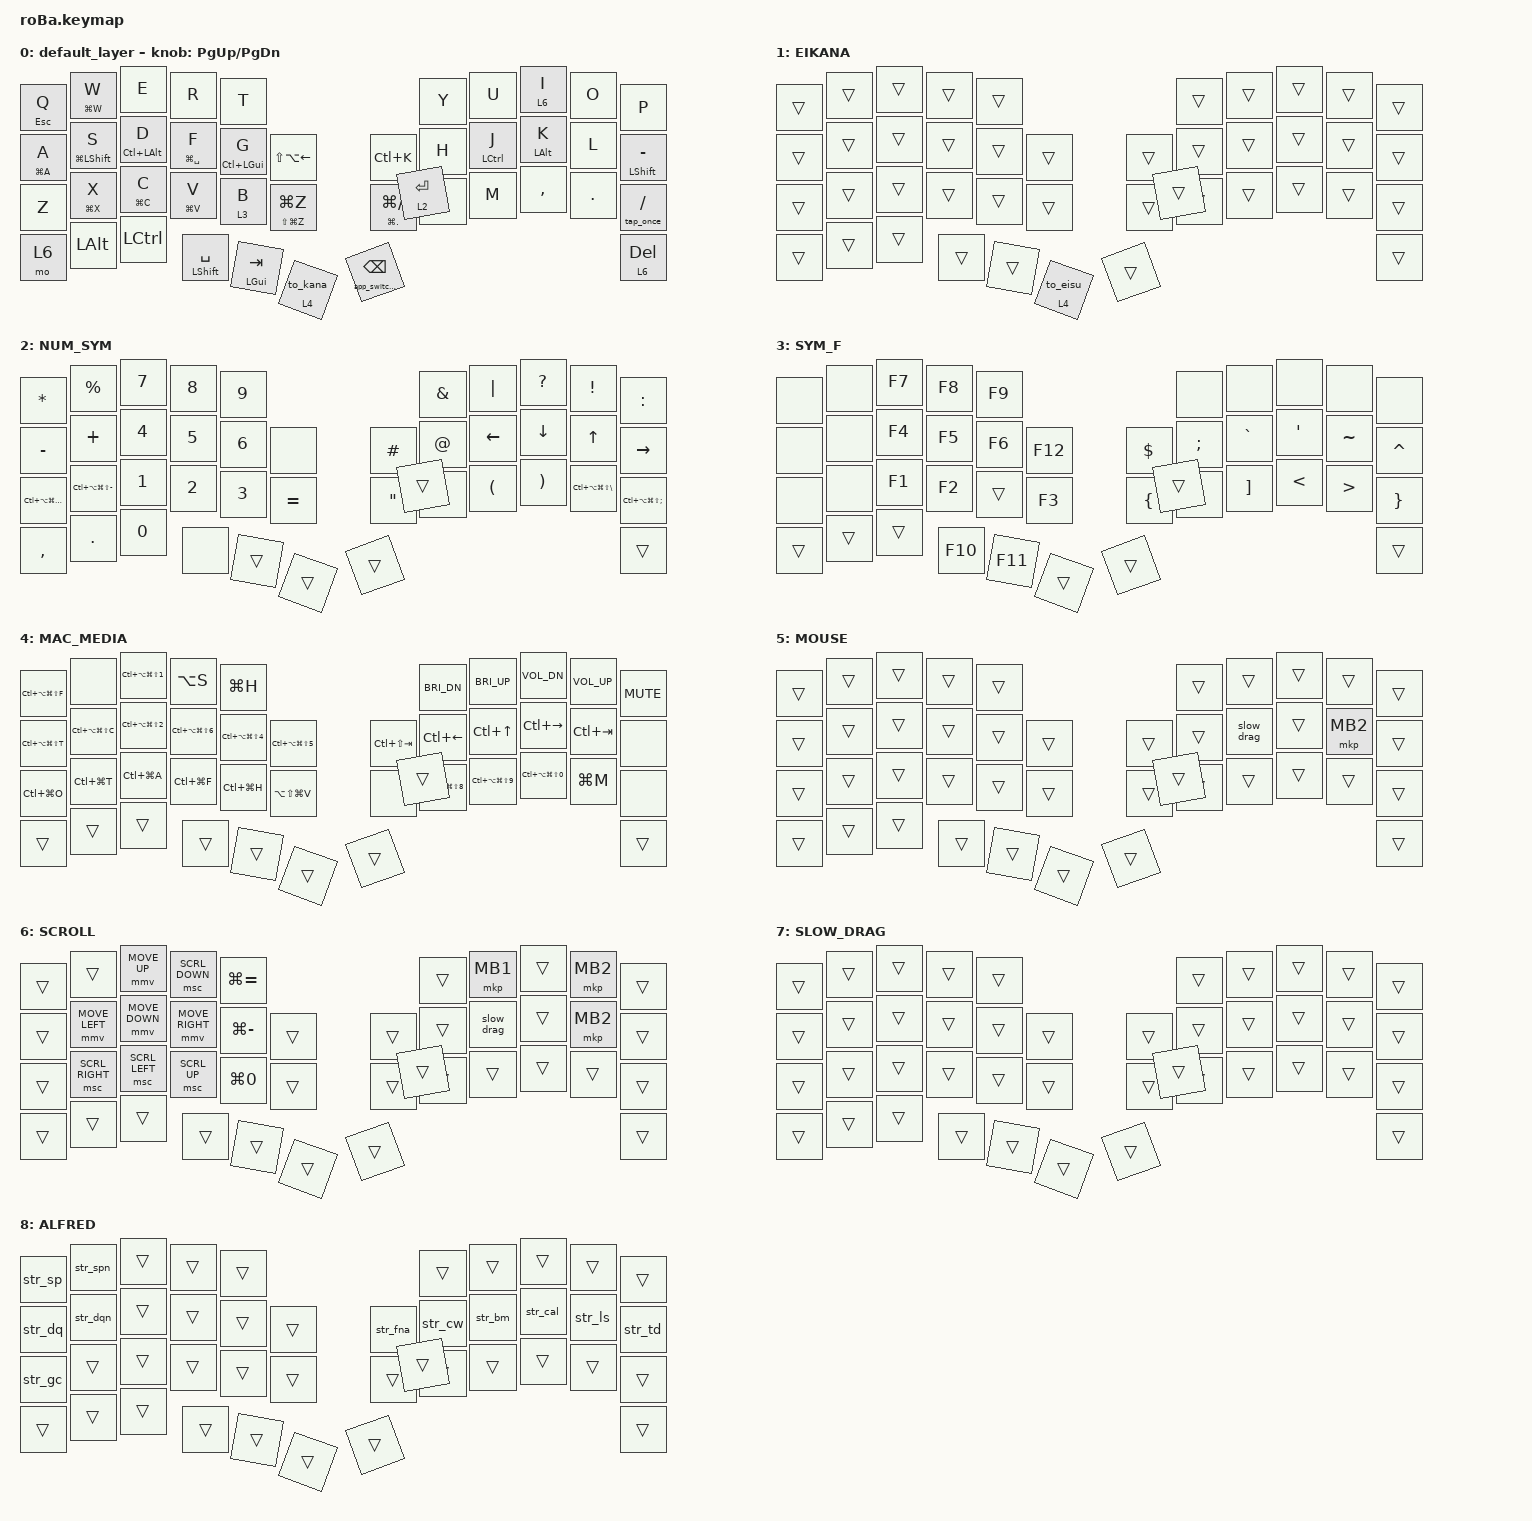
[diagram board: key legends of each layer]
#include <behaviors.dtsi>
#include <dt-bindings/zmk/bt.h>
#include <dt-bindings/zmk/keys.h>
// マウスキーの速さ（初期値 600 より少しゆっくり。細かい位置合わせは J を押さえてボール）
#define ZMK_POINTING_DEFAULT_MOVE_VAL 450
#define ZMK_POINTING_DEFAULT_SCRL_VAL 10
#include <dt-bindings/zmk/pointing.h>

// 面の番号（第 61 版で付け直し）: 0 ふだん / 1 英かなの切り替え用（かなを送った後） / 2 数字＋よく使う記号＋矢印 / 3 余った記号と F キー / 4 Mac 操作・メディア / 5 マウス / 6 スクロール / 7 ドラッグ中（ボールをゆっくり）
// 5・6・7 は &trackball の automouse-layer・scroll-layers・snipe-layers が指している（ドライバはいちばん上の面で判定する）
// 親指は串田さんの呼び方に合わせる: 「外側」＝中央寄り（斜めに傾いたキー）。
// 左親指 中央寄りから 英かな（Control+Space。第 49 版で長押しの Option を外した）・Space（長押し Command）・Tab（長押し Control）。左の下の段 B の右隣 Shift（第 50 版）・X の真下 Option・C の真下 Command（押さえている間。第 49 版）。右親指 中央寄りから delete（Backspace）・Enter（第 49 版で入れ替え。長押しはキーと一緒に動かした）
// スクロール: / の長押し・左親指の英かなの長押し（第 50 版で B の右隣から移した。B の右隣は Shift に。A と ' の長押しの Shift は外した）（I は Mac 操作の面へ、N は第 49 版で長押し無し）（使いやすいのを試す）、または右下の角（前方削除）の長押しをしながらボール
// 第 52 版: X の真下 Option・C の真下 Control（第 55 版で入れ替え）・左親指は外から Space（長押し Command）・Tab（長押し Mac 操作の面）（第 54 版で軽押しの Space と Tab を入れ替え。長押しは場所のまま）・S の長押し Command+Shift。B と / の長押しは外した（第 51 版）
// 第 56 版: J の長押し Control・K の長押し Option（右手の 2 役は左手か親指のキーと一緒のときだけ長押しになる＝rhs）
// 第 57 版: 左親指の Tab の長押しを Shift、B の右隣を押さえている間 Mac 操作の面（前は Shift）、右親指の Enter と delete を長押しごと元に戻す（中央寄り Enter＝記号と矢印、隣 delete＝数字と F）
// 第 58 版: B の長押しで Mac 操作の面、取り消し・やり直しを G の右隣から B の右隣へ（G の右隣は空き）
// 第 60 版: G の右隣にアプリ切替（押している間 Command を押さえて Tab を 1 回。押したまま左親指の Tab で次へ・ボールで合わせて選ぶ、離すと切り替わる。軽押しは直前のアプリへ）
// 第 61 版: 面の組み替え。1 Enter の長押し＝数字（左手に電卓の並び、F が 5、0 は Space の位置）＋よく使う記号＋矢印 / 2 B の長押し＝余った記号と F1〜F12 / 3 delete の長押し＝Mac 操作の面（Z の真下・' の長押しからも）。Home・End は外した。
// 第 61 版: 英かなは押すたびに かな（LANG1）と 英数（LANG2）を交互に送る（前は Control+Space＝前の入力ソース。続けて押すと全角英字などへ飛んだ）。どちらを送ったかはキーボードが覚える（面 1 の入・切）。ずれたら 1 回余分に押せば合う
// 第 63 版: P の長押しで Mac 操作の面（' の長押しから移した）、' の長押しは Shift に戻した（rhs＝左手か親指のキーと一緒のときだけ）。Enter の面の / は BetterTouchTool で文字を入れる（かなのままでも半角の / が出る）
// 第 64 版: 左親指の Space と Tab の軽押しを入れ替え（外から Tab（長押し Command）・Space（長押し Shift）・英かな）。長押しは場所のまま
// 第 70 版: Alfred 用のキーは押すだけで Alfred を開いて言葉まで打つ。B の長押しの面の左 Q sp・W spn・A dq・S dqn・Z gc を追加。Mac 操作の面の E Meet・R スニペット（Option+S）・T クリップボード履歴（Command+H）
// 第 69 版: B の長押しの面の右の中の段を H の左隣 fna・H cw・J bm・K cal・L ls・' td（ToDo 登録＝Alfred を開いて「td 」まで打つ）に並べ替え。$ はふだんの面の U の長押しへ
// 第 67 版: I の長押しをスクロールから Mac 操作の面に（左手のキーと一緒のときだけ）。B の長押しの面の H J K L ' に Alfred 用の文字、$ は H の左隣へ
// 入り方: 1 右親指の Enter の長押し / 2 左の B の長押し / 3 右親指の delete の長押し、Z の真下を押さえている間、右の P の長押し / 7 かなを送った後（英かなの次の 1 回を英数にするだけ）

&mt {
    flavor = "balanced";
    quick-tap-ms = <0>;
};

&trackball {
    automouse-layer = <5>;
    scroll-layers = <6>;
    snipe-layers = <7>;
};

/ {
    macros {
        // 受け取ったキーを 1 回だけ打つ（長押しで ⌘C などを 1 回だけ出す。押し続けても繰り返さない）
        tap_once: tap_once {
            compatible = "zmk,behavior-macro-one-param";
            #binding-cells = <1>;
            bindings = <&macro_param_1to1>, <&macro_tap &kp MACRO_PLACEHOLDER>;
        };

        // 左クリックを押さえている間だけドラッグ中の面（6）に入り、ボールをゆっくりにする（選ぶ範囲の微調整用）
        slow_drag: slow_drag {
            compatible = "zmk,behavior-macro";
            #binding-cells = <0>;
            wait-ms = <0>;
            tap-ms = <0>;
            bindings
                = <&macro_press &mo 7 &mkp MB1>
                , <&macro_pause_for_release>
                , <&macro_release &mkp MB1 &mo 7>
                ;
        };

        // 英かな（第 61 版）: かな（LANG1）を送って面 1 を入れる → 次の 1 回は英数（LANG2）を送って面 1 を切る。受け取る数は使わない
        to_kana: to_kana {
            compatible = "zmk,behavior-macro-one-param";
            #binding-cells = <1>;
            bindings = <&macro_tap &kp LANG1 &tog 1>;
        };

        to_eisu: to_eisu {
            compatible = "zmk,behavior-macro-one-param";
            #binding-cells = <1>;
            bindings = <&macro_tap &kp LANG2 &tog 1>;
        };

        // アプリ切替（第 60 版、G の右隣）: 押した瞬間に Command を押さえて Tab を 1 回 → アプリのアイコンが並ぶ。
        // 押している間は Command を押さえたまま（左親指の Tab で次のアプリ、英かなの長押し Shift と一緒に Tab で前へ、ボールでアイコンに合わせても選べる）。
        // 離すと Command も離れて、選んだアプリに切り替わる。軽く押すだけなら直前のアプリへ。
        // 第 31 版の tri-state（&kt で Command を押しっぱなしにする作り）は Command が押されたまま残ったので使わない。押す・離すがキーの押す・離すと必ず対になる作り
        // 長押しで使えるよう数を 1 つ受け取る形にしたもの（数は使わない。第 75 版、delete の長押し）
        app_switch_p: app_switch_p {
            compatible = "zmk,behavior-macro-one-param";
            #binding-cells = <1>;
            wait-ms = <0>;
            tap-ms = <30>;
            bindings
                = <&macro_press &kp LGUI>
                , <&macro_tap &kp TAB>
                , <&macro_pause_for_release>
                , <&macro_release &kp LGUI>
                ;
        };

        app_switch: app_switch {
            compatible = "zmk,behavior-macro";
            #binding-cells = <0>;
            wait-ms = <0>;
            tap-ms = <30>;
            bindings
                = <&macro_press &kp LGUI>
                , <&macro_tap &kp TAB>
                , <&macro_pause_for_release>
                , <&macro_release &kp LGUI>
                ;
        };

        // 第 70 版: Alfred をキーひとつで呼ぶ（第 67・69 版の文字マクロをこの形にそろえた。私用）。
        // 英数（LANG2）にそろえ英かなの記憶（面 1）も切る → Command+Space で Alfred を開く → 0.3 秒待つ → もう一度英数 → 言葉と空白を打つ（Enter は付けない）。
        // 先に F の長押しで Alfred を開いてから押すと、Command+Space で逆に閉じる。
        str_bm: str_bm {
            compatible = "zmk,behavior-macro";
            #binding-cells = <0>;
            wait-ms = <0>;
            tap-ms = <10>;
            bindings = <&macro_tap &kp LANG2 &tog_off 1>, <&macro_wait_time 30>, <&macro_tap &kp LG(SPACE)>, <&macro_wait_time 300>, <&macro_tap &kp LANG2>, <&macro_wait_time 30>, <&macro_tap &kp B &kp M &kp SPACE>;
        };

        str_cal: str_cal {
            compatible = "zmk,behavior-macro";
            #binding-cells = <0>;
            wait-ms = <0>;
            tap-ms = <10>;
            bindings = <&macro_tap &kp LANG2 &tog_off 1>, <&macro_wait_time 30>, <&macro_tap &kp LG(SPACE)>, <&macro_wait_time 300>, <&macro_tap &kp LANG2>, <&macro_wait_time 30>, <&macro_tap &kp C &kp A &kp L &kp SPACE>;
        };

        str_fna: str_fna {
            compatible = "zmk,behavior-macro";
            #binding-cells = <0>;
            wait-ms = <0>;
            tap-ms = <10>;
            bindings = <&macro_tap &kp LANG2 &tog_off 1>, <&macro_wait_time 30>, <&macro_tap &kp LG(SPACE)>, <&macro_wait_time 300>, <&macro_tap &kp LANG2>, <&macro_wait_time 30>, <&macro_tap &kp F &kp N &kp A &kp SPACE>;
        };

        str_cw: str_cw {
            compatible = "zmk,behavior-macro";
            #binding-cells = <0>;
            wait-ms = <0>;
            tap-ms = <10>;
            bindings = <&macro_tap &kp LANG2 &tog_off 1>, <&macro_wait_time 30>, <&macro_tap &kp LG(SPACE)>, <&macro_wait_time 300>, <&macro_tap &kp LANG2>, <&macro_wait_time 30>, <&macro_tap &kp C &kp W &kp SPACE>;
        };

        str_ls: str_ls {
            compatible = "zmk,behavior-macro";
            #binding-cells = <0>;
            wait-ms = <0>;
            tap-ms = <10>;
            bindings = <&macro_tap &kp LANG2 &tog_off 1>, <&macro_wait_time 30>, <&macro_tap &kp LG(SPACE)>, <&macro_wait_time 300>, <&macro_tap &kp LANG2>, <&macro_wait_time 30>, <&macro_tap &kp L &kp S &kp SPACE>;
        };

        str_td: str_td {
            compatible = "zmk,behavior-macro";
            #binding-cells = <0>;
            wait-ms = <0>;
            tap-ms = <10>;
            bindings = <&macro_tap &kp LANG2 &tog_off 1>, <&macro_wait_time 30>, <&macro_tap &kp LG(SPACE)>, <&macro_wait_time 300>, <&macro_tap &kp LANG2>, <&macro_wait_time 30>, <&macro_tap &kp T &kp D &kp SPACE>;
        };

        str_sp: str_sp {
            compatible = "zmk,behavior-macro";
            #binding-cells = <0>;
            wait-ms = <0>;
            tap-ms = <10>;
            bindings = <&macro_tap &kp LANG2 &tog_off 1>, <&macro_wait_time 30>, <&macro_tap &kp LG(SPACE)>, <&macro_wait_time 300>, <&macro_tap &kp LANG2>, <&macro_wait_time 30>, <&macro_tap &kp S &kp P &kp SPACE>;
        };

        str_spn: str_spn {
            compatible = "zmk,behavior-macro";
            #binding-cells = <0>;
            wait-ms = <0>;
            tap-ms = <10>;
            bindings = <&macro_tap &kp LANG2 &tog_off 1>, <&macro_wait_time 30>, <&macro_tap &kp LG(SPACE)>, <&macro_wait_time 300>, <&macro_tap &kp LANG2>, <&macro_wait_time 30>, <&macro_tap &kp S &kp P &kp N &kp SPACE>;
        };

        str_dq: str_dq {
            compatible = "zmk,behavior-macro";
            #binding-cells = <0>;
            wait-ms = <0>;
            tap-ms = <10>;
            bindings = <&macro_tap &kp LANG2 &tog_off 1>, <&macro_wait_time 30>, <&macro_tap &kp LG(SPACE)>, <&macro_wait_time 300>, <&macro_tap &kp LANG2>, <&macro_wait_time 30>, <&macro_tap &kp D &kp Q &kp SPACE>;
        };

        str_dqn: str_dqn {
            compatible = "zmk,behavior-macro";
            #binding-cells = <0>;
            wait-ms = <0>;
            tap-ms = <10>;
            bindings = <&macro_tap &kp LANG2 &tog_off 1>, <&macro_wait_time 30>, <&macro_tap &kp LG(SPACE)>, <&macro_wait_time 300>, <&macro_tap &kp LANG2>, <&macro_wait_time 30>, <&macro_tap &kp D &kp Q &kp N &kp SPACE>;
        };

        str_gc: str_gc {
            compatible = "zmk,behavior-macro";
            #binding-cells = <0>;
            wait-ms = <0>;
            tap-ms = <10>;
            bindings = <&macro_tap &kp LANG2 &tog_off 1>, <&macro_wait_time 30>, <&macro_tap &kp LG(SPACE)>, <&macro_wait_time 300>, <&macro_tap &kp LANG2>, <&macro_wait_time 30>, <&macro_tap &kp G &kp C &kp SPACE>;
        };

    };

    behaviors {
        // 面を必ず切る（押すたびに入れ替えではなく、切るだけ）。Alfred 用の文字の前に英かなの記憶を「英数」にそろえる
        tog_off: toggle_layer_off {
            compatible = "zmk,behavior-toggle-layer";
            #binding-cells = <1>;
            toggle-mode = "off";
        };

        // 英かな（第 61 版、左親指の中央寄り）: 軽押しは かな と 英数 を交互に、長押しは Mac 操作の面（第 76 版。第 71〜75 版は Shift、その前はボールでスクロール）
        ekk: eikana_kana {
            compatible = "zmk,behavior-hold-tap";
            #binding-cells = <2>;
            bindings = <&mo>, <&to_kana>;
            flavor = "balanced";
            tapping-term-ms = <200>;
            quick-tap-ms = <0>;
        };

        eke: eikana_eisu {
            compatible = "zmk,behavior-hold-tap";
            #binding-cells = <2>;
            bindings = <&mo>, <&to_eisu>;
            flavor = "balanced";
            tapping-term-ms = <200>;
            quick-tap-ms = <0>;
        };

        // G（長押し Control+Command）。G の右隣の長押し Command+Shift は第 48 版で外した（G の右隣は取り消し・やり直しに。CleanShot の文字の写し取りは Mac 操作の面の , ）。
        // G の右隣の軽押しは Mission Control だったが、誤って押しやすいので第 39 版で外した（Mission Control は Mac 操作の面の J の位置にある）
        // G+T のように同じ左手のキーとも組めるよう、手の左右を問わない。0.25 秒押さえたときだけ長押し、打った直後 0.15 秒以内は必ず軽押し
        ghm: g_hold_mod {
            compatible = "zmk,behavior-hold-tap";
            #binding-cells = <2>;
            bindings = <&kp>, <&kp>;
            flavor = "tap-preferred";
            tapping-term-ms = <250>;
            quick-tap-ms = <175>;
            require-prior-idle-ms = <150>;
        };

        // 軽押しは何も出さない（&none）、長押しだけ働く 2 役キー（使い方 &ghn 長押しのキー 0）。第 79 版から使っている所は無い
        // 第 78 版で G の右隣（Shift+Option+←）・H の左隣（Control+K）に使ったが、第 79 版で軽押しで効く &kp にした（串田さんの依頼）
        ghn: g_hold_only {
            compatible = "zmk,behavior-hold-tap";
            #binding-cells = <2>;
            bindings = <&kp>, <&none>;
            flavor = "tap-preferred";
            tapping-term-ms = <250>;
        };

        // 文字キーの長押しでよく使う操作（Q Esc、F Alfred＝Command+Space、第 61 版で W ⌘W・X ⌘X・C ⌘C・V ⌘V を戻した、第 69 版で U の長押しに $）。S・X・C・V の長押し（⌘S・⌘X・⌘C・⌘V）は分かりにくいので第 43 版で外した。
        // 速打ちで誤って出ないよう、文字を打った直後 0.15 秒以内は必ず文字、長押しは 0.3 秒
        sct: shortcut_tap {
            compatible = "zmk,behavior-hold-tap";
            #binding-cells = <2>;
            bindings = <&tap_once>, <&kp>;
            flavor = "tap-preferred";
            tapping-term-ms = <300>;
            quick-tap-ms = <175>;
            require-prior-idle-ms = <150>;
        };

        // ホームの段の長押し: A Shift・D Control+Option（D を押さえて Space・Enter で Orca の会話の開始・送信など）、右は ' Shift。
        // 反対の手のキーと親指にだけ効く。
        // 速打ちで誤って働かないように: 文字を打った直後 0.15 秒以内は必ず文字、0.25 秒押さえたうえで反対の手のキー（と親指）を押したときだけ修飾キー
        lhs: left_home_shift {
            compatible = "zmk,behavior-hold-tap";
            #binding-cells = <2>;
            bindings = <&kp>, <&kp>;
            flavor = "balanced";
            tapping-term-ms = <250>;
            quick-tap-ms = <175>;
            require-prior-idle-ms = <150>;
            hold-trigger-key-positions = <5 6 7 8 9 16 17 18 19 20 21 28 29 30 31 32 33 37 38 39 40 41 42>;
            hold-trigger-on-release;
        };

        rhs: right_home_shift {
            compatible = "zmk,behavior-hold-tap";
            #binding-cells = <2>;
            bindings = <&kp>, <&kp>;
            flavor = "balanced";
            tapping-term-ms = <250>;
            quick-tap-ms = <175>;
            require-prior-idle-ms = <150>;
            hold-trigger-key-positions = <0 1 2 3 4 10 11 12 13 14 15 22 23 24 25 26 27 34 35 36 37 38 39 40 41 42>;
            hold-trigger-on-release;
        };

        // I の長押しでボールのスクロール（第 71 版で戻した。第 67〜70 版は Mac 操作の面）（第 55 版で Mac 操作の面からスクロールに戻した。N の長押しは第 49 版で外した）。「に」「の」のように N の直後に右手のキーを続けて打ったとき、
        // N が長押しと判定されて I・O が音量になっていたので、右手のキーが続いたら必ず文字の N にする。
        // 文字を打った直後 0.15 秒以内も必ず N。Mac 操作の面は N を押さえて左手のキーで使う
        nlt: n_layer_tap {
            compatible = "zmk,behavior-hold-tap";
            #binding-cells = <2>;
            bindings = <&mo>, <&kp>;
            flavor = "balanced";
            tapping-term-ms = <200>;
            quick-tap-ms = <150>;
            require-prior-idle-ms = <150>;
            hold-trigger-key-positions = <0 1 2 3 4 10 11 12 13 14 15 22 23 24 25 26 27 34 35 36 37 38 39>;
            hold-trigger-on-release;
        };

        // 左親指の真ん中の Space: 長押しで Command。Command+C などを素早く打てるよう balanced にし、
        // 文字を打った直後 0.15 秒以内は必ず Space（速打ちで Command+文字 に化けないように）
        tmt: thumb_mod_tap {
            compatible = "zmk,behavior-hold-tap";
            #binding-cells = <2>;
            bindings = <&kp>, <&kp>;
            flavor = "balanced";
            tapping-term-ms = <220>;
            quick-tap-ms = <150>;
            require-prior-idle-ms = <150>;
            // 長く押しても他のキーを押さずに離したら Space として出す
            retro-tap;
        };

        // 左親指の真ん中の Space: 長押しで Mac 操作の面（第 53 版）。押し方の決め方は上の tmt と同じ
        tlt: thumb_layer_tap {
            compatible = "zmk,behavior-hold-tap";
            #binding-cells = <2>;
            bindings = <&mo>, <&kp>;
            flavor = "balanced";
            tapping-term-ms = <220>;
            quick-tap-ms = <150>;
            require-prior-idle-ms = <150>;
            retro-tap;
        };

        // 左親指のいちばん外の Tab（第 71 版）: 長押しでボールのスクロール（面 6）。押さえてボールを動かし、何も打たずに離しても Tab は出さない（retro-tap なし）。
        // 軽押しのすぐ後の押し続けは Tab の連続
        tsc: tab_scroll {
            compatible = "zmk,behavior-hold-tap";
            #binding-cells = <2>;
            bindings = <&mo>, <&kp>;
            flavor = "balanced";
            tapping-term-ms = <200>;
            quick-tap-ms = <150>;
        };

        // 左親指のいちばん端（軽押し Tab・長押し Control）と中央寄り（軽押し 英かな・長押し Option）。
        // 修飾キーを素早く使えるよう balanced にする。軽押しのすぐ後の押し続けは前方削除の連続
        cmt: quick_mod_tap {
            compatible = "zmk,behavior-hold-tap";
            #binding-cells = <2>;
            bindings = <&kp>, <&kp>;
            flavor = "balanced";
            tapping-term-ms = <200>;
            quick-tap-ms = <150>;
        };

        // 内側の列の 2 役キー（N の左隣: 軽押し 音声入力のモード切り替え ⌘/・長押し 音声入力 ⌘.）。第 46 版で軽押しを B から ⌘/ に（B は左手で打つ）。
        // 長押しは 0.3 秒としっかり長めに。文字を打った直後 0.15 秒以内は必ず軽押し
        vbs: slow_hold_tap {
            compatible = "zmk,behavior-hold-tap";
            #binding-cells = <2>;
            bindings = <&kp>, <&kp>;
            flavor = "tap-preferred";
            tapping-term-ms = <300>;
            quick-tap-ms = <200>;
            require-prior-idle-ms = <150>;
        };

        // G の右隣（第 48 版で B の右隣から 1 つ上へ。空いた B の右隣は押さえている間ボールでスクロール）: 軽押し 取り消し（⌘Z）・長押し やり直し（⇧⌘Z）。第 43 版で専用に分けた。
        // 長押しが効かなかったので、長押しまでの時間を 0.3 秒から 0.2 秒に縮め、取り消しを続けて打った直後でもすぐ長押しと判定する（quick-tap を 0）。
        // 長押しのやり直しは 1 回だけ出す（押し続けても繰り返さない）
        urd: undo_redo {
            compatible = "zmk,behavior-hold-tap";
            #binding-cells = <2>;
            bindings = <&tap_once>, <&kp>;
            flavor = "tap-preferred";
            tapping-term-ms = <200>;
            quick-tap-ms = <0>;
            require-prior-idle-ms = <150>;
        };

        // 長押しで面に入るキー（第 61 版）: 右親指の Enter で数字＋よく使う記号＋矢印、左の B で余った記号と F キー、右親指の delete（Backspace）で Mac 操作の面。
        // 長押しして何も打たずに離しても delete・Enter・B は出さない（文字を消さない・誤って送信しない）。文字を打った直後 0.15 秒以内は必ず軽押し
        // delete（第 75 版）: 軽押し delete・長押しでアプリ切替（押した瞬間 Command を押さえて Tab 1 回、離すと Command を離す）。
        // delete を押さえたまま左親指の Tab で次のアプリへ。前は G の右隣にあった &app_switch と同じ動き。後ろの数は使わない（0 を書く）
        dsw: delete_app_switch {
            compatible = "zmk,behavior-hold-tap";
            #binding-cells = <2>;
            bindings = <&app_switch_p>, <&kp>;
            flavor = "tap-preferred";
            tapping-term-ms = <200>;
            quick-tap-ms = <150>;
            require-prior-idle-ms = <150>;
        };

        blt: right_layer_tap {
            compatible = "zmk,behavior-hold-tap";
            #binding-cells = <2>;
            bindings = <&mo>, <&kp>;
            flavor = "tap-preferred";
            tapping-term-ms = <200>;
            quick-tap-ms = <150>;
            require-prior-idle-ms = <150>;
        };
    };

    // 第 74 版: D と F をほぼ同時（0.05 秒以内）に押して離すと、次に押す 1 つだけ Alfred の面（&sl 8）。
    // 文字を打った直後 0.15 秒以内は同時押しとみなさない（ローマ字の速打ち対策）。ふだんの面と英かなの面でだけ効く
    combos {
        compatible = "zmk,combos";
        combo_alfred {
            timeout-ms = <50>;
            key-positions = <12 13>;
            bindings = <&sl 8>;
            require-prior-idle-ms = <150>;
            layers = <0 1>;
        };
    };

    keymap {
        compatible = "zmk,keymap";

        default_layer {
            bindings = <
&sct ESC Q        &sct LG(W) W     &kp E     &kp R              &kp T                                                                   &kp Y      &kp U          &nlt 6 I   &kp O    &kp P     
&sct LG(A) A      &ghm LG(LSHIFT) S         &lhs LC(LALT) D &sct LG(SPACE) F                  &ghm LC(LGUI) G                   &kp LS(LA(LEFT_ARROW))             &kp LC(K)                     &kp H  &rhs LCTRL J  &rhs LALT K  &kp L  &rhs LSHIFT MINUS      
&kp Z             &sct LG(X) X        &sct LG(C) C        &sct LG(V) V                   &blt 3 B               &urd LS(LG(Z)) LG(Z)                      &vbs LG(PERIOD) LG(SLASH)           &kp N      &kp M  &kp COMMA  &kp DOT  &tap_once SLASH  
&mo 6             &kp LALT        &kp LCTRL          &tmt LSHIFT SPACE         &tmt LGUI TAB              &ekk 4 0            &dsw 0 BACKSPACE              &blt 2 ENTER                                              &lt 6 DELETE
            >;

            sensor-bindings = <&inc_dec_kp PG_UP PAGE_DOWN>;
        };

        // 英かなの切り替え用（第 61 版、面 1）: かなを送った後だけ入る。いちばん下に置く（上に置くとボールのドライバが「いちばん上の面」でスクロールを判定するので、かなの間スクロールが効かなくなった）。英かなの位置だけ「次は英数」、ほかはすべて下の面のまま
        EIKANA {
            bindings = <
&trans  &trans  &trans  &trans  &trans                      &trans  &trans  &trans  &trans  &trans
&trans  &trans  &trans  &trans  &trans  &trans      &trans  &trans  &trans  &trans  &trans  &trans
&trans  &trans  &trans  &trans  &trans  &trans      &trans  &trans  &trans  &trans  &trans  &trans
&trans  &trans  &trans  &trans  &trans  &eke 4 0         &trans  &trans                          &trans
            >;
        };

        // 第 75 版: 左手を Q *・W %・A -・S +・Z ÷・X ×・B の右隣 =、Z の真下 ,・X の真下 .・C の真下 0 に（G の右隣・Tab の位置は空き、A の Shift は外した。下の説明はそれ以前のもの）
        // 数字＋よく使う記号＋矢印の面（第 61 版。右親指の Enter の長押し）。左手は電卓の並び（F が 5、0 は左親指の Space の位置。送るのは上の段の普通の数字＝⌘1 などが確実に効く）。
        // 左: Q *・W +・S -・Z ,・X .・G の右隣 =・B の右隣 %、A は押さえている間 Shift（矢印で範囲を選ぶ）。
        // 左の下の段（Enter を押さえている間）: X の真下 ×・C の真下 ÷。Control+Option+Command+Shift+- と = を送り、BetterTouchTool が × ÷ の文字を入れる（第 61 版で登録）
        // 右: 上の段 & | ? ! :（第 74 版で ? ! & | から並べ替え）、H の左隣 #・H @、J ← K ↓ L ↑ ' →、下の段 N の左隣 "（# の下）・N _・M (（← の下）・, )（↓ の下）・. \・/ /
// \ は第 64 版から Control+Option+Command+Shift+\ を送り、BetterTouchTool が半角の \ を入れる（かなのままだと ¥ になっていたため）
// / は第 66 版から Control+Option+Command+Shift+; を送り（第 63 版の +/ は BetterTouchTool に届かなかった。ふだんの / は元のまま＝かなでは「・」）、BetterTouchTool が半角の / を入れる（かなのままだと / が「・」になっていたため）
        NUM_SYM {
            bindings = <
&kp ASTERISK &kp PERCENT &kp N7   &kp N8   &kp N9                                                    &kp AMPERSAND  &kp PIPE         &kp QUESTION    &kp EXCLAMATION  &kp COLON
&kp MINUS    &kp PLUS   &kp N4   &kp N5   &kp N6   &none                        &kp HASH            &kp AT_SIGN    &kp LEFT_ARROW   &kp DOWN_ARROW  &kp UP_ARROW  &kp RIGHT_ARROW
&kp LC(LA(LG(LS(EQUAL))))  &kp LC(LA(LG(LS(MINUS))))  &kp N1   &kp N2   &kp N3   &kp EQUAL                  &kp DOUBLE_QUOTES    &kp UNDERSCORE  &kp LEFT_PARENTHESIS  &kp RIGHT_PARENTHESIS  &kp LC(LA(LG(LS(BACKSLASH))))  &kp LC(LA(LG(LS(SEMICOLON))))
&kp COMMA    &kp DOT    &kp N0   &none    &trans   &trans                       &trans              &trans                                                                &trans
            >;
        };

        // 余った記号と F キーの面（第 61 版。左の B の長押し）。第 74 版: Alfred 用の文字マクロは F の長押しの Alfred の面へ移し、$ を H の左隣に戻した（U の長押しの $ は外した）。Enter の面にある記号（: _ \ " など）は置かない。
        // 左: F キーは Enter の面の数字と同じ場所（F が F5、E R T が F7 F8 F9、D G が F4 F6、C V が F1 F2）。B は押さえるので F3 は B の右隣。F10 は Space、F11 は Tab の位置、F12 は G の右隣（F6 の右）。右: 記号は間を空けずに詰める（上の段 ; ` ' ~ ^、H の左隣 $（第 67 版で H から移した）、下の段 { [ ] < > }＝第 68 版で < > と { } を入れ替え）。H J K L ' は第 67 版から文字 cw・bm・cal・fna・ls（Alfred 用）。第 69 版で H の左隣 fna・H cw・J bm・K cal・L ls・' td（ToDo 登録）に並べ替え、$ はふだんの面の U の長押しへ
        SYM_F {
            bindings = <
&none    &none    &kp F7   &kp F8   &kp F9                                                &none          &none             &none              &none             &none    
&none    &none    &kp F4   &kp F5   &kp F6   &kp F12                 &kp DOLLAR           &kp SEMICOLON  &kp GRAVE         &kp SINGLE_QUOTE   &kp TILDE         &kp CARET
&none    &none    &kp F1   &kp F2   &trans   &kp F3                  &kp LEFT_BRACE       &kp LEFT_BRACKET  &kp RIGHT_BRACKET  &kp LESS_THAN   &kp GREATER_THAN &kp RIGHT_BRACE
&trans   &trans   &trans   &kp F10  &kp F11  &trans                  &trans               &trans                                                                       &trans
            >;
        };

        // 第 75 版: 入口は左親指の Tab の長押しだけ（P・delete の長押しは外した。delete の長押しはアプリ切替、Tab の長押しのスクロールは外した）
        // Mac 操作・メディアの面（右の P・delete の長押し。Z の真下は第 73 版でスクロールに変えた）。右手は画面の操作と撮影、左手は音楽・アプリを開くキー・Bluetooth。
        // 第 76 版: BT 1（接続先 1 に戻す BT_SEL 0）を外し、右の下の段を左へ詰めた（N 窓を左半分・M 最大化・, 右半分。最小化は . へ、N の左隣は空き）。Bluetooth の接続先を変えるキーは 1 つも無い
        // 第 74 版: 下の段の左 6 つ（最小化・BT 1・窓の左半分・最大化・右半分・空き）と右 6 つ（書式なしで貼る・撮影 4 つ・撮影メニュー）を並び順のまま入れ替えた（下の説明の左右はそれ以前のもの）
        // Bluetooth は X の接続先 1 だけ（第 42 版で接続先 2〜4 と接続を消すキーを外した。撮影のときに誤って押して接続先が切り替わったため）
        // 第 72 版: A Google カレンダー（Control+Option+Command+C）、Notion は E へ（Meet は外した）。
        // アプリを開くキー（E Notion・S Finder・D Orca（第 43 版で S と D を入れ替え）・F Google Chrome・G Chatwork・G の右隣 LINE）は Control+Option+Command+Shift+1〜6 を送る（Notion 1・Orca 2・Finder 3・LINE 4・Chatwork 5・Chrome 6）。開く設定は Mac 側（BetterTouchTool）で
        // 右手の中の段は外から 左のタブ・左のデスクトップ・Mission Control・右のデスクトップ・右のタブ（' の位置は空き）
        // 左の下の段はウィンドウ操作（第 45 版）: Z 最小化 Cmd+M、C 左半分・V 最大化・B 右半分は Control+Option+Command+Shift+8・9・0 を BetterTouchTool で（第 46 版で Rectangle から移した。C の Control+Option+← が届かなかったため）
        // 撮影の履歴は第 74 版から Control+Command+H（CleanShot のホットキー。G の長押し＋H で開くのを串田さんが確認。Hyper+7 の BetterTouchTool 経由は開かなかった）。撮影は CleanShot の設定に合わせる（第 52 版で読み直した: N 範囲 Control+Cmd+A、M 全画面 Control+Cmd+F、, 画面の文字 Control+Cmd+T、/ 撮影メニュー Control+Cmd+O）。. の CleanShot の履歴は Control+Option+Command+Shift+7 を BetterTouchTool で cleanshot://open-history に
        // 第 78 版: 串田さんの画像の矢印。Q Finder（S から）・A Google ToDo（Hyper+T を BetterTouchTool → Alfred の jp.kushida.gcal-window の外部トリガー tasks。カレンダーと同じアプリ窓を ToDo 表示に）・S Google カレンダー（A から）。G Chatwork と G の右隣 LINE を入れ替え（G LINE・G の右隣 Chatwork）
        // 第 77 版: 左の下の段を Z 撮影メニュー・X 画面の文字・C 範囲・V 全画面・B 撮影の履歴（そのまま）・G の右隣 書式なしで貼る に（串田さんの画像の矢印。範囲→全画面の場所、全画面→画面の文字の場所、画面の文字→範囲の場所、書式なしで貼ると撮影メニューを入れ替え）
        MAC_MEDIA {
            bindings = <
&kp LC(LA(LG(LS(F))))   &none         &kp LC(LA(LG(LS(N1))))  &kp LA(S)     &kp LG(H)                                         &kp C_BRI_DN       &kp C_BRI_UP        &kp C_VOL_DN      &kp C_VOL_UP         &kp C_MUTE
&kp LC(LA(LG(LS(T))))   &kp LC(LA(LG(LS(C))))   &kp LC(LA(LG(LS(N2))))  &kp LC(LA(LG(LS(N6))))  &kp LC(LA(LG(LS(N4))))  &kp LC(LA(LG(LS(N5))))  &kp LC(LS(TAB))    &kp LC(LEFT_ARROW) &kp LC(UP_ARROW)  &kp LC(RIGHT_ARROW)  &kp LC(TAB)  &none
&kp LC(LG(O))      &kp LC(LG(T))      &kp LC(LG(A))       &kp LC(LG(F))     &kp LC(LG(H))           &kp LA(LS(LG(V)))      &none      &kp LC(LA(LG(LS(N8))))  &kp LC(LA(LG(LS(N9))))  &kp LC(LA(LG(LS(N0))))  &kp LG(M)  &none 
&trans  &trans        &trans        &trans        &trans        &trans         &trans             &trans                                                                   &trans
            >;
        };

        // マウスの面（ボールを動かした後 1.5 秒）。J 左クリック（押さえている間ボールがゆっくり）・L 右クリック（第 39 版で K から L へ。K は文字のまま）
        MOUSE {
            bindings = <
&trans  &trans  &trans  &trans  &trans                      &trans  &trans    &trans    &trans    &trans
&trans  &trans  &trans  &trans  &trans  &trans      &trans  &trans  &slow_drag  &trans    &mkp MB2  &trans
&trans  &trans  &trans  &trans  &trans  &trans      &trans  &trans  &trans    &trans    &trans    &trans
&trans  &trans  &trans  &trans  &trans  &trans      &trans  &trans                                &trans
            >;
        };

        // スクロールの面（Z の真下（第 73 版で Mac 操作の面から変更）・Tab・I・右下の角を押さえている間。ボールでスクロール）。
        // 押さえている間は J 左クリック（押さえている間ボールがゆっくり）・L 右クリックが時間切れなしで使える。
        // マウスキー: 左手の E S D F でカーソルを ↑ ← ↓ →、R で上へ・V で下へスクロール（Mac のナチュラルなスクロールに合わせて SCRL_DOWN・SCRL_UP を逆に割り当て）。第 73 版: X で左へ・C で右へ（同じく SCRL_RIGHT・SCRL_LEFT を逆に。向きは実機で未確認）。U 左クリック、O 右クリック
        // 拡大・縮小（タッチパッドのピンチの代わり）: T 拡大 Command+=、G 縮小 Command+-、B 元の大きさ Command+0
        SCROLL {
            bindings = <
&trans  &trans          &mmv MOVE_UP    &msc SCRL_DOWN   &kp LG(EQUAL)               &trans  &mkp MB1  &trans    &mkp MB2  &trans
&trans  &mmv MOVE_LEFT  &mmv MOVE_DOWN  &mmv MOVE_RIGHT  &kp LG(MINUS)  &trans      &trans  &trans  &slow_drag  &trans    &mkp MB2  &trans
&trans  &msc SCRL_RIGHT  &msc SCRL_LEFT  &msc SCRL_UP     &kp LG(N0)     &trans      &trans  &trans  &trans    &trans    &trans    &trans
&trans  &trans          &trans          &trans           &trans  &trans      &trans  &trans                                &trans
            >;
        };

        // ドラッグ中の面（J の左クリックを押さえている間だけ。中身はすべて下の面のまま、ボールが半分の速さになる）
        SLOW_DRAG {
            bindings = <
&trans  &trans  &trans  &trans  &trans                      &trans  &trans  &trans  &trans  &trans
&trans  &trans  &trans  &trans  &trans  &trans      &trans  &trans  &trans  &trans  &trans  &trans
&trans  &trans  &trans  &trans  &trans  &trans      &trans  &trans  &trans  &trans  &trans  &trans
&trans  &trans  &trans  &trans  &trans  &trans      &trans  &trans                          &trans
            >;
        };

        // Alfred の面（第 74 版。D と F の同時押し（上の combos）、面 8）。B の長押しの面にあった Alfred 用の文字マクロを同じ場所のまま移した。
        // 左: Q sp・W spn・A dq・S dqn・Z gc、右: H の左隣 fna・H cw・J bm・K cal・L ls・' td。ほかのキーは下の面のまま。
        // いちばん上に置くが、同時押しの後の 1 キーの間だけなのでボールのスクロールの判定には響かない
        ALFRED {
            bindings = <
&str_sp  &str_spn &trans   &trans   &trans                                &trans   &trans   &trans   &trans   &trans
&str_dq  &str_dqn &trans   &trans   &trans   &trans          &str_fna     &str_cw  &str_bm  &str_cal &str_ls  &str_td
&str_gc  &trans   &trans   &trans   &trans   &trans          &trans       &trans   &trans   &trans   &trans   &trans
&trans   &trans   &trans   &trans   &trans   &trans          &trans       &trans                              &trans
            >;
        };
    };
};
